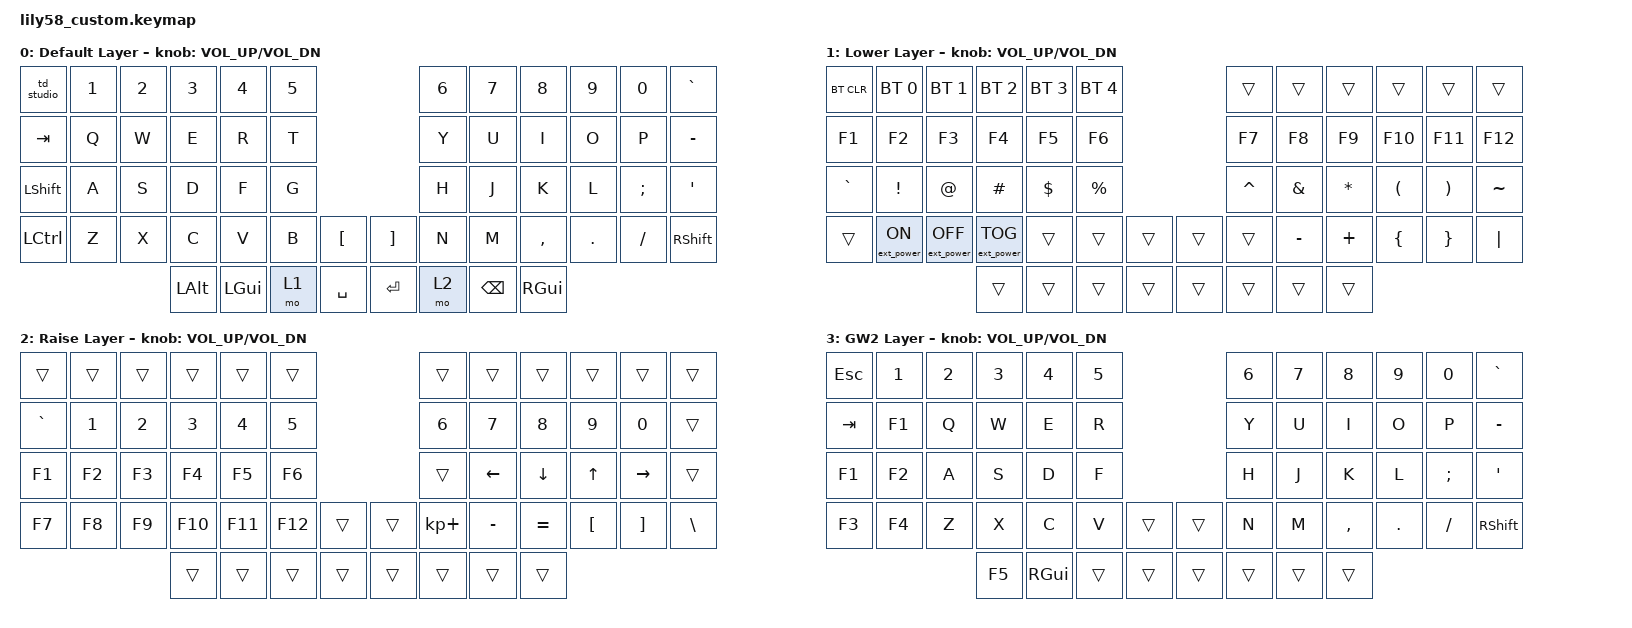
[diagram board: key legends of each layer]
/*
 * Copyright (c) 2020 The ZMK Contributors
 *
 * SPDX-License-Identifier: MIT
 */

#include <behaviors.dtsi>
#include <dt-bindings/zmk/keys.h>
#include <dt-bindings/zmk/bt.h>
#include <dt-bindings/zmk/ext_power.h>

/ {
    behaviors {
        /* Tap ESC normally; hold it for the ZMK Studio unlock gesture. */
        td_studio: tap_dance_studio {
            compatible = "zmk,behavior-tap-dance";
            #binding-cells = <0>;
            tapping-term-ms = <300>;
            bindings = <&kp ESC>, <&studio_unlock>;
        };
    };

    keymap {
        compatible = "zmk,keymap";

        default_layer {
            display-name = "Default Layer";
// ------------------------------------------------------------------------------------------------------------
// |  ESC  |  1  |  2  |  3   |  4   |  5   |                   |  6   |  7    |  8    |  9   |   0   |   `   |
// |  TAB  |  Q  |  W  |  E   |  R   |  T   |                   |  Y   |  U    |  I    |  O   |   P   |   -   |
// | SHIFT |  A  |  S  |  D   |  F   |  G   |                   |  H   |  J    |  K    |  L   |   ;   |   '   |
// |  CTRL |  Z  |  X  |  C   |  V   |  B   |   "["  |  |  "]"  |  N   |  M    |  ,    |  .   |   /   | SHIFT |
//                     | ALT  | GUI  | LOWER|  SPACE |  | ENTER | RAISE| BSPC  | GUI   |
            bindings = <
&td_studio &kp N1 &kp N2 &kp N3   &kp N4   &kp N5                     &kp N6 &kp N7   &kp N8    &kp N9  &kp N0   &kp GRAVE
&kp TAB   &kp Q  &kp W  &kp E    &kp R    &kp T                      &kp Y  &kp U    &kp I     &kp O   &kp P    &kp MINUS
&kp LSHFT &kp A  &kp S  &kp D    &kp F    &kp G                      &kp H  &kp J    &kp K     &kp L   &kp SEMI &kp SQT
&kp LCTRL &kp Z  &kp X  &kp C    &kp V    &kp B  &kp LBKT   &kp RBKT &kp N  &kp M    &kp COMMA &kp DOT &kp FSLH &kp RSHFT
                        &kp LALT &kp LGUI &mo 1  &kp SPACE  &kp RET  &mo 2  &kp BSPC &kp RGUI
            >;

            sensor-bindings = <&inc_dec_kp C_VOL_UP C_VOL_DN>;
        };

        lower_layer {
            display-name = "Lower Layer";
// ------------------------------------------------------------------------------------------------------------
// | BTCLR | BT1 | BT2 |  BT3 |  BT4 |  BT5 |                   |      |       |       |      |       |       |
// |  F1   |  F2 |  F3  |  F4  |  F5  |  F6  |                   |  F7  |  F8   |  F9   |  F10 |  F11  |  F12  |
// |   `   |  !  |  @  |  #   |  $   |  %   |                   |  ^   |  &    |  *    |  (   |   )   |   ~   |
// |       |     |     |      |      |      |        |  |       |      |  _    |  +    |  {   |   }   |  "|"  |
//                     |      |      |      |        |  |       |      |       |       |
            bindings = <
&bt BT_CLR &bt BT_SEL 0     &bt BT_SEL 1      &bt BT_SEL 2      &bt BT_SEL 3 &bt BT_SEL 4                 &trans    &trans    &trans    &trans    &trans    &trans
&kp F1     &kp F2           &kp F3            &kp F4            &kp F5       &kp F6                       &kp F7    &kp F8    &kp F9    &kp F10   &kp F11   &kp F12
&kp GRAVE  &kp EXCL         &kp AT            &kp HASH          &kp DOLLAR   &kp PRCNT                    &kp CARET &kp AMPS  &kp ASTRK &kp LPAR  &kp RPAR  &kp TILDE
&trans     &ext_power EP_ON &ext_power EP_OFF &ext_power EP_TOG &trans       &trans    &trans   &trans    &trans    &kp MINUS &kp PLUS  &kp LBRC  &kp RBRC  &kp PIPE
                                              &trans            &trans       &trans    &trans   &trans    &trans    &trans    &trans
            >;

            sensor-bindings = <&inc_dec_kp C_VOL_UP C_VOL_DN>;
        };

        raise_layer {
            display-name = "Raise Layer";
// ------------------------------------------------------------------------------------------------------------
// |       |     |     |      |      |      |                   |      |       |       |      |       |       |
// |   `   |  1  |  2  |  3   |  4   |  5   |                   |  6   |   7   |   8   |  9   |   0   |       |
// |   F1  |  F2 |  F3 |  F4  |  F5  |  F6  |                   |      |   <-  |   v   |  ^   |  ->   |       |
// |   F7  |  F8 |  F9 |  F10 |  F11 |  F12 |        |  |       |  +   |   -   |   =   |  [   |   ]   |   \   |
//                     |      |      |      |        |  |       |      |       |       |
            bindings = <
&trans    &trans &trans &trans  &trans  &trans                       &trans      &trans    &trans    &trans   &trans    &trans
&kp GRAVE &kp N1 &kp N2 &kp N3  &kp N4  &kp N5                       &kp N6      &kp N7    &kp N8    &kp N9   &kp N0    &trans
&kp F1    &kp F2 &kp F3 &kp F4  &kp F5  &kp F6                       &trans      &kp LEFT  &kp DOWN  &kp UP   &kp RIGHT &trans
&kp F7    &kp F8 &kp F9 &kp F10 &kp F11 &kp F12   &trans   &trans    &kp KP_PLUS &kp MINUS &kp EQUAL &kp LBKT &kp RBKT  &kp BSLH
                        &trans  &trans  &trans    &trans   &trans    &trans      &trans    &trans
            >;

            sensor-bindings = <&inc_dec_kp C_VOL_UP C_VOL_DN>;
        };

        /* Toggled by pressing both encoder buttons at once — see combo_gw2_toggle below. */
        gw2_layer {
            display-name = "GW2 Layer";
// ------------------------------------------------------------------------------------------------------------
// |  ESC  |  1  |  2  |  3   |  4   |  5   |                   |  6   |  7    |  8    |  9   |   0   |   `   |
// |  TAB  | F1  |  Q  |  W   |  E   |  R   |                   |  Y   |  U    |  I    |  O   |   P   |   -   |
// |  F1   | F2  |  A  |  S   |  D   |  F   |                   |  H   |  J    |  K    |  L   |   ;   |   '   |
// |  F3   | F4  |  Z  |  X   |  C   |  V   |        |  |       |  N   |  M    |  ,    |  .   |   /   | SHIFT |
//                     | F5   | GUI  |      |        |  |       |      |       |       |
            bindings = <
&kp ESC   &kp N1 &kp N2 &kp N3   &kp N4   &kp N5                     &kp N6 &kp N7   &kp N8    &kp N9  &kp N0   &kp GRAVE
&kp TAB   &kp F1 &kp Q  &kp W    &kp E    &kp R                      &kp Y  &kp U    &kp I     &kp O   &kp P    &kp MINUS
&kp F1    &kp F2 &kp A  &kp S    &kp D    &kp F                      &kp H  &kp J    &kp K     &kp L   &kp SEMI &kp SQT
&kp F3    &kp F4 &kp Z  &kp X    &kp C    &kp V  &trans    &trans    &kp N  &kp M    &kp COMMA &kp DOT &kp FSLH &kp RSHFT
                        &kp F5   &kp RGUI &trans &trans    &trans    &trans &trans   &trans
            >;

            sensor-bindings = <&inc_dec_kp C_VOL_UP C_VOL_DN>;
        };
    };

    combos {
        compatible = "zmk,combos";

        /*
         * Press both encoder buttons at the same time to toggle the GW2 layer.
         * The encoder push switches sit in the matrix at the positions where the
         * inner bottom keys would be: 42 = left half ([), 43 = right half (]).
         * &tog keeps the layer on until the combo is pressed again.
         *
         * timeout-ms: max time between the two presses.
         * require-prior-idle-ms: ignore the combo if a real key was pressed just
         * before, so fast typing of "[" / "]" cannot switch the layer by accident.
         */
        combo_gw2_toggle {
            timeout-ms = <70>;
            require-prior-idle-ms = <150>;
            key-positions = <42 43>;
            bindings = <&tog 3>;
        };
    };
};
